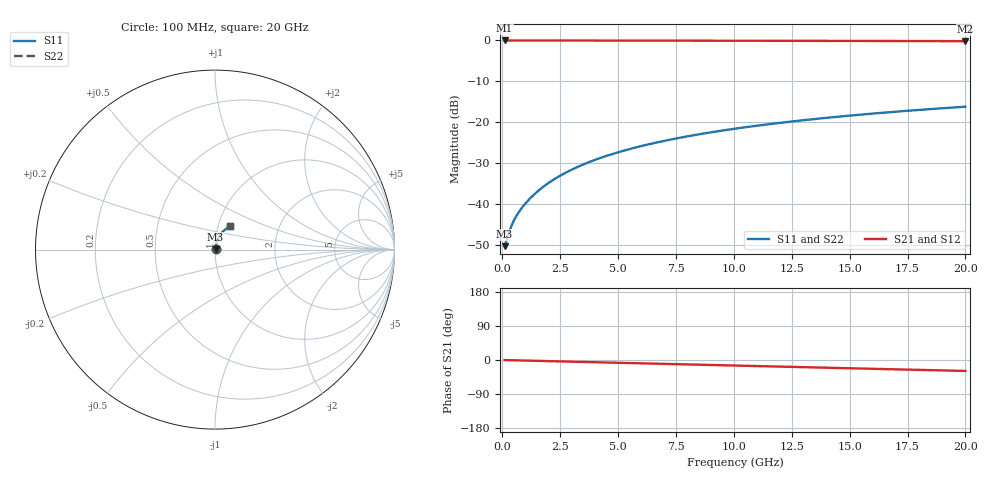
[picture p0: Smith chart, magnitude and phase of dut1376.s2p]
! Touchstone file exported from HFSS 2026.1.0
!  File:  C:/ffzhzh/LocalFiles/Ansys_Project_Files/temp_train_TMRDL_1376_1783165951_18472.aedt
!  Generated:  07:53:45 PM Jul  4, 2026
!  Design:  TMRDL
!  Project:  temp_train_TMRDL_1376_1783165951_18472
! Variables:
!  h_bsmrdl = 2um
!  h_ox = 20um
!  h_rdl = 5um
!  h_sub = 80um
!  h_tmrdl = 2.45um
!  h_tsv = 80um
!  h_via = 3um
!  l_bsmrdl = 300um
!  l_sub = 865.35um
!  l_tmrdl = 465.35um
!  m_sub = 200um
!  pitch = 38.11um
!  r_tsv = 6um
!  s_tmrdl = 10um
!  w_bsmrdl = 18um
!  w_sub = 500um
!  w_tmrdl = 27.8um
!  x_tsv_center1 = 479.25um
!  x_tsv_center2 = 797.25um
!  x_tsv_center3 = 1290.4um
!  x_tsv_center4 = 1608.4um
!  x_tsv_center5 = 2101.55um
!  x_tsv_center6 = 2419.55um
# GHz S MA R 50.000000
! Terminal data exported
! Port[1] = TM_RDL1_1_T1
! Port[2] = TM_RDL1_1_T2
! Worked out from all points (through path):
!   200 points, 100 MHz to 20 GHz, reference 50 ohm
!   highest |S21| = -0.02 dB at 100 MHz (marker M1); lowest = -0.2 dB at 20 GHz (marker M2)
!   group delay of S21, straight-line fit = 4.01 ps
!   lowest |S11| = -50.4 dB at 100 MHz (marker M3), VSWR 1.01, Z = 50.3 + j0.116 ohm
!   |S11| at or under -10 dB: start of sweep to end of sweep
!   |S22| runs from -50.4 to -16.2 dB; largest |S21 - S12| = 3.5e-15
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0.1  0.003025 22.5  0.9972 -0.2  0.9972 -0.2  0.003025 22.5
! Gamma 0 0 0 0
! Port Impedance 50 0 50 0
0.3  0.004558 45.8  0.9968 -0.5  0.9968 -0.5  0.004558 45.8
0.4  0.005407 51.0  0.9966 -0.6  0.9966 -0.6  0.005407 51.0
0.5  0.00623 54.5  0.9964 -0.8  0.9964 -0.8  0.006229 54.5
0.6  0.007025 57.2  0.9963 -0.9  0.9963 -0.9  0.007025 57.2
0.8  0.008571 61.3  0.996 -1.2  0.996 -1.2  0.00857 61.4
1  0.0101 64.5  0.9959 -1.5  0.9959 -1.5  0.0101 64.5
1.2  0.01164 66.9  0.9957 -1.8  0.9957 -1.8  0.01164 66.9
1.7  0.01558 71.1  0.9955 -2.5  0.9955 -2.5  0.01558 71.1
2.2  0.01961 73.4  0.9953 -3.3  0.9953 -3.3  0.01961 73.4
2.8  0.02452 74.9  0.9951 -4.2  0.9951 -4.2  0.02452 74.9
3.5  0.03028 75.7  0.9947 -5.2  0.9947 -5.2  0.03028 75.7
4.2  0.03605 75.8  0.9944 -6.2  0.9944 -6.2  0.03605 75.8
5  0.04263 75.6  0.9939 -7.4  0.9939 -7.4  0.04263 75.6
5.9  0.04999 75.0  0.9932 -8.7  0.9932 -8.7  0.04999 75.0
6.8  0.05728 74.1  0.9925 -10.0  0.9925 -10.0  0.05728 74.2
8.3  0.06927 72.5  0.9912 -12.2  0.9912 -12.2  0.06928 72.5
10.1  0.08336 70.3  0.9895 -14.8  0.9895 -14.8  0.08336 70.4
11.7  0.09558 68.3  0.9877 -17.1  0.9877 -17.1  0.09558 68.3
13.4  0.1082 66.0  0.9858 -19.5  0.9858 -19.5  0.1083 66.1
16.7  0.1319 61.7  0.9818 -24.2  0.9818 -24.2  0.1319 61.7
20  0.1541 57.3  0.9776 -28.9  0.9776 -28.9  0.1542 57.3
